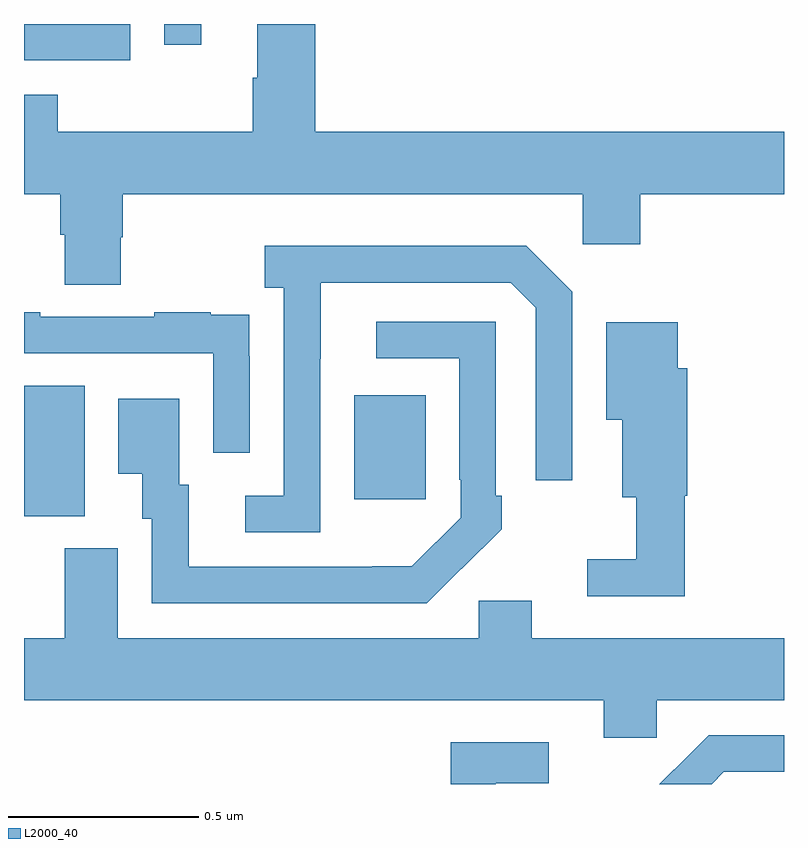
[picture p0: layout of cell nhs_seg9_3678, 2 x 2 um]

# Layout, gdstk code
import gdstk
lib = gdstk.Library(unit=1e-6, precision=1e-09)
def R(c, l, rs):  # rectangles x0, y0, x1, y1
    for r in rs: c.add(gdstk.rectangle(r[:2], r[2:], *l))
def P(c, l, *ps):  # polygons
    for p in ps: c.add(gdstk.Polygon(p, *l))
L2000_40 = (2000, 40)

nhs_seg9_3678 = lib.new_cell('nhs_seg9_3678')
R(nhs_seg9_3678, L2000_40, [(156,1230.205,156.16,1230.548), (156.869,1230.249,157.057,1230.523), (156,1231.404,156.279,1231.5), (156.369,1231.446,156.466,1231.5)])
P(nhs_seg9_3678, L2000_40, [(156.255,1230.939),(156.26,1230.939),(156.26,1231.052),(157.47,1231.052),(157.47,1230.921),(157.622,1230.921),(157.622,1231.052),(158,1231.052),(158,1231.216),(156.767,1231.216),(156.767,1231.5),(156.614,1231.5),(156.614,1231.358),(156.602,1231.358),(156.602,1231.216),(156.089,1231.216),(156.089,1231.314),(156,1231.314),(156,1231.052),(156.095,1231.052),(156.095,1230.946),(156.107,1230.946),(156.107,1230.814),(156.255,1230.814)],
  [(156.78,1230.619),(156.781,1230.619),(156.781,1230.819),(157.281,1230.819),(157.347,1230.753),(157.347,1230.3),(157.443,1230.3),(157.443,1230.795),(157.322,1230.916),(156.633,1230.916),(156.633,1230.806),(156.684,1230.806),(156.684,1230.258),(156.582,1230.258),(156.582,1230.162),(156.78,1230.162)],
  [(156.594,1230.626),(156.593,1230.626),(156.593,1230.735),(156.491,1230.735),(156.491,1230.742),(156.343,1230.742),(156.343,1230.729),(156.043,1230.729),(156.043,1230.742),(156,1230.742),(156,1230.633),(156.498,1230.633),(156.498,1230.372),(156.594,1230.372)],
  [(157.151,1230.067),(157.152,1230.066),(157.257,1230.171),(157.257,1230.259),(157.242,1230.259),(157.242,1230.717),(156.927,1230.717),(156.927,1230.621),(157.146,1230.621),(157.146,1230.301),(157.149,1230.301),(157.149,1230.201),(157.021,1230.073),(156.917,1230.073),(156.917,1230.072),(156.433,1230.072),(156.433,1230.288),(156.409,1230.288),(156.409,1230.514),(156.248,1230.514),(156.248,1230.317),(156.311,1230.317),(156.311,1230.198),(156.336,1230.198),(156.336,1229.976),(157.06,1229.976)],
  [(157.739,1230.258),(157.745,1230.258),(157.745,1230.594),(157.72,1230.594),(157.72,1230.715),(157.532,1230.715),(157.532,1230.458),(157.574,1230.458),(157.574,1230.254),(157.611,1230.254),(157.611,1230.091),(157.482,1230.091),(157.482,1229.994),(157.739,1229.994)],
  [(157.526,1229.622),(157.665,1229.622),(157.665,1229.72),(158,1229.72),(158,1229.884),(157.336,1229.884),(157.336,1229.982),(157.197,1229.982),(157.197,1229.884),(156.247,1229.884),(156.247,1230.12),(156.107,1230.12),(156.107,1229.884),(156,1229.884),(156,1229.72),(157.526,1229.72)],
  [(157.842,1229.532),(158,1229.532),(158,1229.628),(157.802,1229.628),(157.711,1229.537),(157.71,1229.538),(157.672,1229.5),(157.81,1229.5)],
  [(157.241,1229.502),(157.381,1229.502),(157.381,1229.61),(157.123,1229.61),(157.123,1229.5),(157.241,1229.5)])

lib.write_gds('nhs_seg9_3678.gds')
